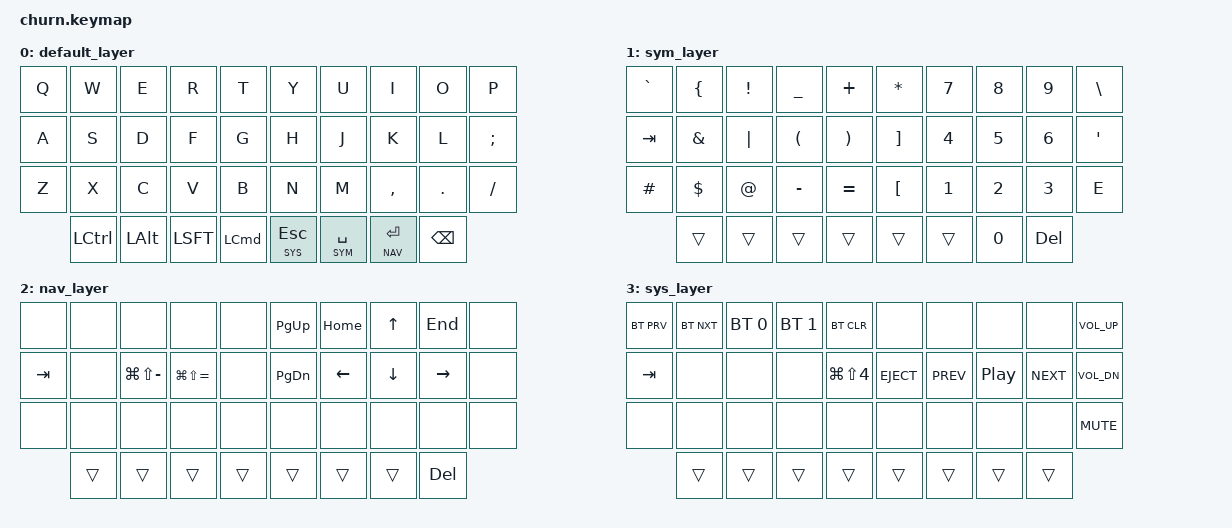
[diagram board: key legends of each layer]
/*
 * Copyright (c) 2020 The ZMK Contributors
 *
 * SPDX-License-Identifier: MIT
 */

#include <behaviors.dtsi>
#include <dt-bindings/zmk/keys.h>
#include <dt-bindings/zmk/bt.h>

#define DEFAULT 0
#define SYM     1
#define NAV     2
#define SYS     3

/ {
        keymap {
                compatible = "zmk,keymap";

                default_layer {
// --------------------------------------------------------------
// |  Q  |  W  |  E  |  R  |  T  ||  Y  |  U  |  I  |  O  |  P  |
// |  A  |  S  |  D  |  F  |  G  ||  H  |  J  |  K  |  L  |  ;  |
// |  Z  |  X  |  C  |  V  |  B  ||  N  |  M  |  ,  |  .  |  /  |
// ------| CTL | OPT | SFT | CMD || ESC | SPC | RET | DEL |------
//       --------------------------------------------------
                        bindings = <
   &kp Q &kp W    &kp E    &kp R    &kp T    &kp Y       &kp U         &kp I         &kp O    &kp P
   &kp A &kp S    &kp D    &kp F    &kp G    &kp H       &kp J         &kp K         &kp L    &kp SEMI
   &kp Z &kp X    &kp C    &kp V    &kp B    &kp N       &kp M         &kp COMMA     &kp DOT  &kp FSLH
         &kp LCTL &kp LALT &kp LSFT &kp LCMD &lt SYS ESC &lt SYM SPACE &lt NAV ENTER &kp BSPC
                        >;
                };

                sym_layer {
// --------------------------------------------------------------
// |  `  |  ?  |  !  |  {  |  }  ||  *  |  7  |  8  |  9  |  \  |
// | TAB |  &  | '|' |  (  |  )  ||  =  |  4  |  5  |  6  |  -  |
// |  #  |  $  |  @  |  [  |  ]  ||  /  |  1  |  2  |  3  |  .  |
// ------| CTL | OPT | SFT | CMD ||     |     |  0  | FDL |------
//       --------------------------------------------------
                        bindings = <
   &kp GRAVE &kp LBRC &kp EXCL &kp UNDER &kp PLUS  &kp STAR &kp N7 &kp N8 &kp N9 &kp BSLH
   &kp TAB   &kp AMPS &kp PIPE &kp LPAR  &kp RPAR  &kp RBKT &kp N4 &kp N5 &kp N6 &kp SQT
   &kp HASH  &kp DLLR &kp AT   &kp MINUS &kp EQUAL &kp LBKT &kp N1 &kp N2 &kp N3 &kp E
             &trans   &trans   &trans    &trans    &trans   &trans &kp N0 &kp DEL
                        >;
                };

                nav_layer {
// --------------------------------------------------------------
// |     |     |     |     |     || PGU | HM  | UP  | END |     |
// | TAB |     | TBP | TBN |     || PGD | LFT | DN  | RGT |     |
// |     |     |     |     |     ||     |     |     |     |     |
// ------| CTL | OPT | SFT | CMD ||     | SPC | RET | FDL |------
//       --------------------------------------------------
                        bindings = <
   &none   &none  &none             &none             &none  &kp PG_UP &kp HOME &kp UP   &kp END   &none
   &kp TAB &none  &kp LG(LS(MINUS)) &kp LG(LS(EQUAL)) &none  &kp PG_DN &kp LEFT &kp DOWN &kp RIGHT &none
   &none   &none  &none             &none             &none  &none     &none    &none    &none     &none
           &trans &trans            &trans            &trans &trans    &trans   &trans   &kp DEL
                        >;
                };

								sys_layer {
// --------------------------------------------------------------
// | BTP | BTN | BT0 | BT1 | BTC ||     |     |     |     | VUP |
// | TAB |     |     |     | PSC || EJK | PRV | PLY | NXT | VDN |
// |     |     |     |     |     ||     |     |     |     | VNO |
// ------| CTL | OPT | SFT | CMD ||     | SPC | RET | DEL |------
//       --------------------------------------------------
                        bindings = <
   &bt BT_PRV &bt BT_NXT &bt BT_SEL 0 &bt BT_SEL 1 &bt BT_CLR     &none       &none      &none    &none      &kp C_VOL_UP
   &kp TAB    &none      &none        &none        &kp LG(LS(N4)) &kp C_EJECT &kp C_PREV &kp C_PP &kp C_NEXT &kp C_VOL_DN
   &none      &none      &none        &none        &none          &none       &none      &none    &none      &kp C_MUTE
              &trans     &trans       &trans       &trans         &trans      &trans     &trans   &trans
                        >;
								};
        };
};
